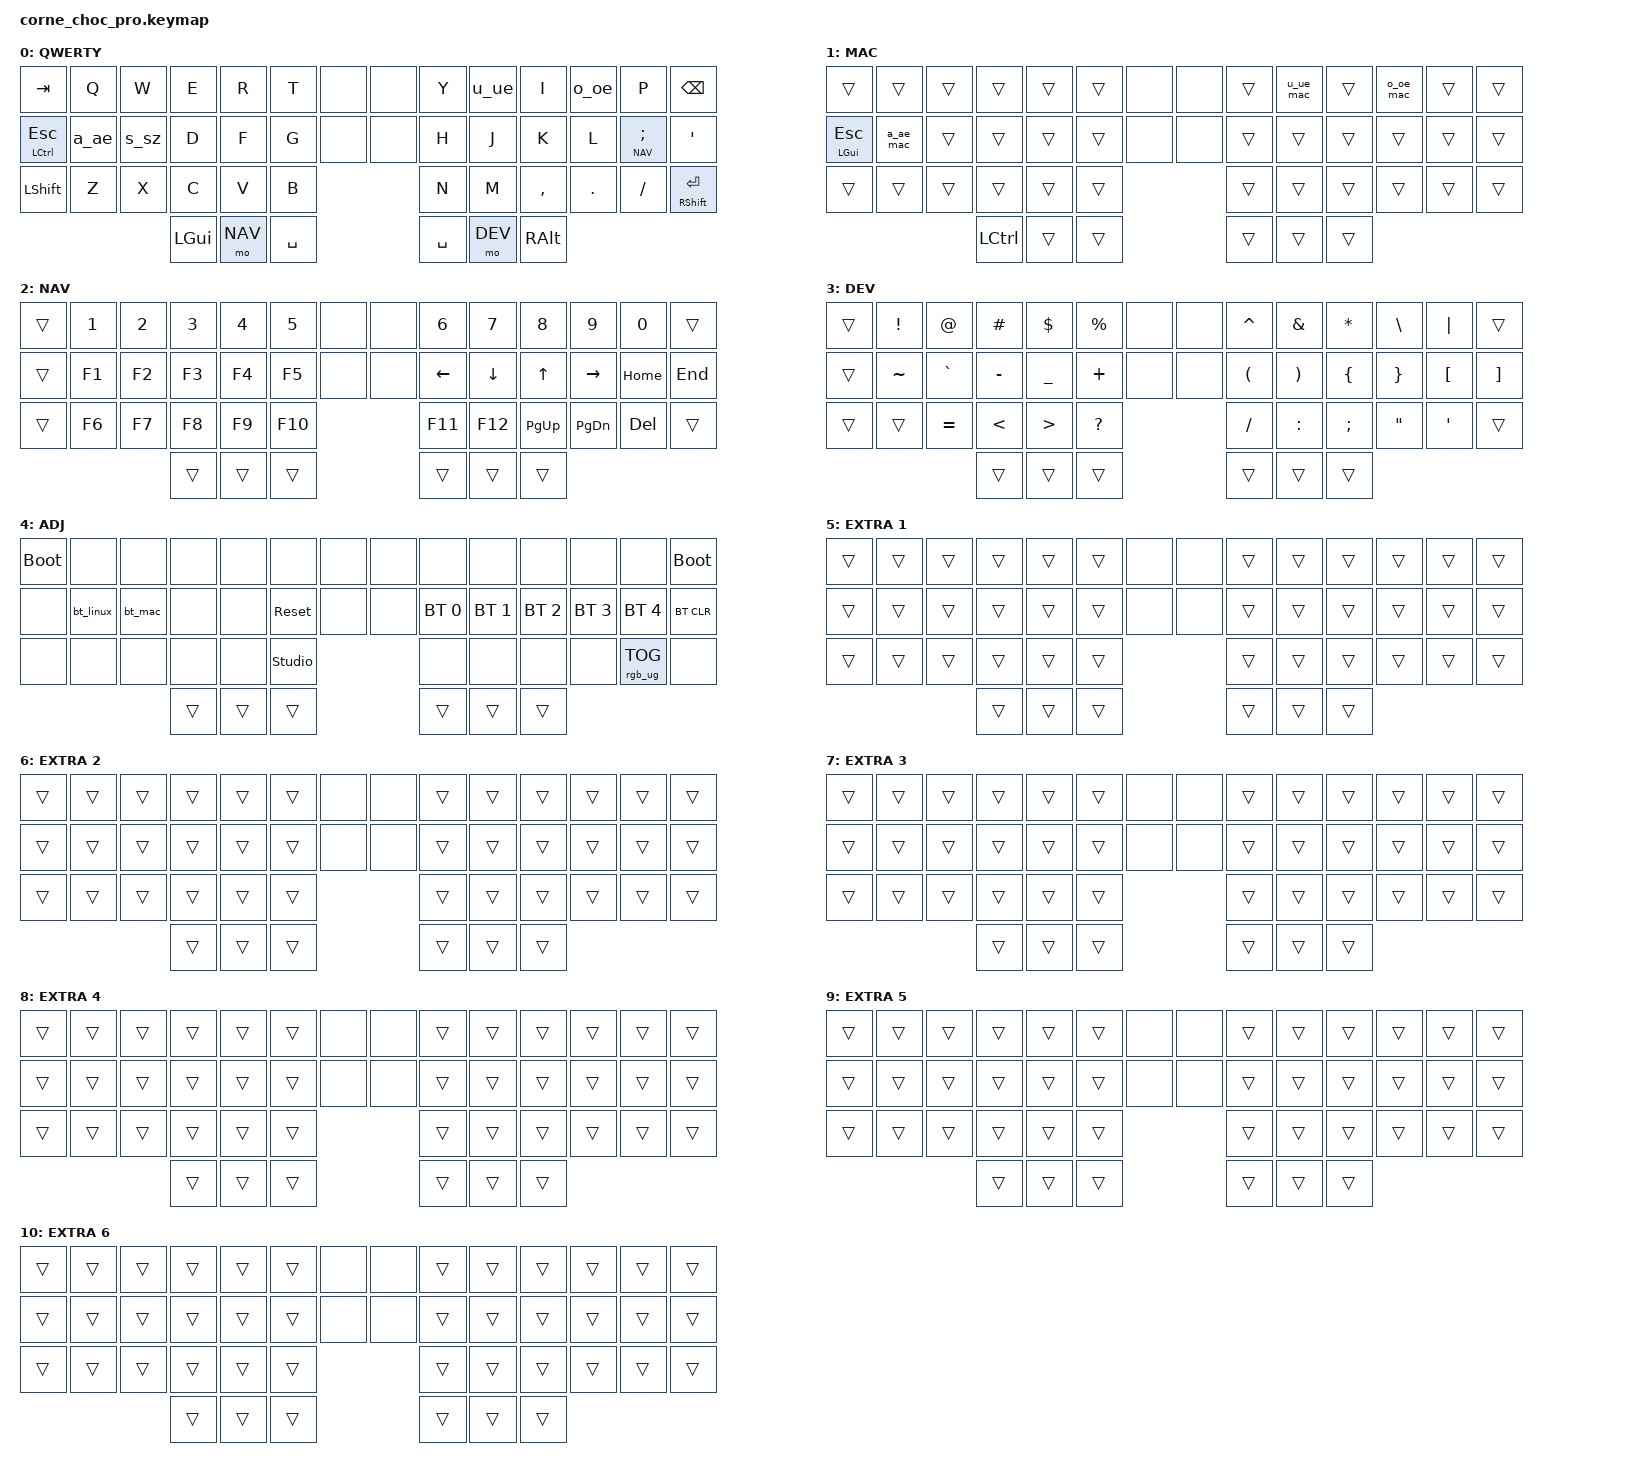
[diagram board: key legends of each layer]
/*
 * Corne Choc Pro BT — ZMK keymap
 *
 * Each half has a display physically occupying what would have been
 * 2 switch positions. So 4 keymap matrix positions are unwired (bound
 * to &none): row 1 col 7, row 2 col 7 (left display), row 1 col 8,
 * row 2 col 8 (right display) — i.e. the four middle positions on
 * rows 1 and 2.
 *
 * Layers:
 *   0 = BASE   (QWERTY, Linux default)
 *   1 = MAC    (overlay; activated when on BT profile 1 via &bt_mac)
 *   2 = NAV    (numbers, F-keys, vim arrows)
 *   3 = DEV    (symbols, brackets)
 *   4 = ADJ    (BT, system, RGB, Studio) — auto-activated by NAV+DEV
 *   5-10       (reserved empty layers for future ZMK Studio editing)
 *
 * Tri-layer: holding NAV (left thumb middle) + DEV (right thumb middle)
 * activates ADJ. No explicit binding needed.
 *
 * OS switching: BT profile 0 = Linux (BASE), BT profile 1 = Mac (MAC overlay).
 * Use the &bt_linux / &bt_mac macros on the ADJ layer to switch.
 */

#include <behaviors.dtsi>
#include <dt-bindings/zmk/bt.h>
#include <dt-bindings/zmk/keys.h>
#include <dt-bindings/zmk/rgb.h>

#define BASE 0
#define MAC  1
#define NAV  2
#define DEV  3
#define ADJ  4

/ {
    chosen { zmk,physical-layout = &default_layout; };

    // Tri-layer: hold NAV + DEV together => ADJ activates automatically.
    conditional_layers {
        compatible = "zmk,conditional-layers";
        tri_layer {
            if-layers = <NAV DEV>;
            then-layer = <ADJ>;
        };
    };

    macros {
        // Switch to Linux: BT profile 0, return to BASE
        bt_linux: bt_linux {
            label = "BT_LINUX";
            compatible = "zmk,behavior-macro";
            #binding-cells = <0>;
            bindings
                = <&bt BT_SEL 0>
                , <&to BASE>;
        };

        // Switch to Mac: BT profile 1, activate MAC overlay
        bt_mac: bt_mac {
            label = "BT_MAC";
            compatible = "zmk,behavior-macro";
            #binding-cells = <0>;
            bindings
                = <&bt BT_SEL 1>
                , <&to MAC>;
        };
    };

    behaviors {
        // Layer-tap: tap = key, hold = momentary layer.
        // retro-tap: if held without pressing another key, still emits the tap on release.
        lt_to_layer: lt_to_layer {
            compatible = "zmk,behavior-hold-tap";
            label = "LT_TO_LAYER";
            bindings = <&mo>, <&kp>;
            #binding-cells = <2>;
            tapping-term-ms = <200>;
            quick-tap-ms = <150>;
            flavor = "tap-preferred";
            retro-tap;
        };

        // German umlauts via Right Alt:
        // Tap A/O/U/S => normal letter.
        // Hold RALT + tap => umlaut/eszett (decoded by OS layout, e.g.
        // 'English (US, intl., with dead keys)' on Linux,
        // 'U.S. International - PC' on macOS).
        a_ae: a_ae {
            compatible = "zmk,behavior-mod-morph";
            label = "A_AE";
            bindings = <&kp A>, <&kp RA(Q)>;
            #binding-cells = <0>;
            mods = <(MOD_RALT)>;
        };

        o_oe: o_oe {
            compatible = "zmk,behavior-mod-morph";
            label = "O_OE";
            bindings = <&kp O>, <&kp RA(P)>;
            #binding-cells = <0>;
            mods = <(MOD_RALT)>;
        };

        u_ue: u_ue {
            compatible = "zmk,behavior-mod-morph";
            label = "U_UE";
            bindings = <&kp U>, <&kp RA(Y)>;
            #binding-cells = <0>;
            mods = <(MOD_RALT)>;
        };

        s_sz: s_sz {
            compatible = "zmk,behavior-mod-morph";
            label = "S_SZ";
            bindings = <&kp S>, <&kp RA(S)>;
            #binding-cells = <0>;
            mods = <(MOD_RALT)>;
        };

        // Mac umlaut mod-morphs:
        //   Requires macOS input source = "ABC - German" (or any layout
        //   that maps Option+A/O/U/S directly to ä/ö/ü/ß and
        //   Shift+Option+letter to the capital variants).
        //
        //   With that layout, the OS handles shift natively, so we don't
        //   need macros or nested mod-morphs at all -- just emit RA(letter)
        //   when RALT is held, the same shape as the Linux side. Shift
        //   composes naturally because the OS keyboard layout knows that
        //   Shift+Option+a = Ä.
        //
        // Structurally identical to the Linux a_ae / o_oe / u_ue morphs;
        // the only reason they're separate behaviors is so the keys land
        // on the right matrix positions via the MAC overlay layer.
        a_ae_mac: a_ae_mac {
            compatible = "zmk,behavior-mod-morph";
            label = "A_AE_MAC";
            bindings = <&kp A>, <&kp RA(A)>;
            #binding-cells = <0>;
            mods = <(MOD_RALT)>;
        };

        o_oe_mac: o_oe_mac {
            compatible = "zmk,behavior-mod-morph";
            label = "O_OE_MAC";
            bindings = <&kp O>, <&kp RA(O)>;
            #binding-cells = <0>;
            mods = <(MOD_RALT)>;
        };

        u_ue_mac: u_ue_mac {
            compatible = "zmk,behavior-mod-morph";
            label = "U_UE_MAC";
            bindings = <&kp U>, <&kp RA(U)>;
            #binding-cells = <0>;
            mods = <(MOD_RALT)>;
        };

        // Note: no s_sz_mac needed. The Linux s_sz already emits RA(S),
        // which is also Option+S = ß on the new Mac layout. The MAC layer
        // can &trans through to the BASE s_sz binding unchanged.
    };

    keymap {
        compatible = "zmk,keymap";

        /*
         * ============================================================
         * BASE (Linux default) — Layer 0
         * ============================================================
         *
         * ,-----------------------------------.              ,-----------------------------------.
         * | TAB |  Q  |  W  |  E  |  R  |  T  |              |  Y  | U*  |  I  | O*  |  P  |BSPC |
         * |-----+-----+-----+-----+-----+-----| [DSP]  [DSP] |-----+-----+-----+-----+-----+-----|
         * |CT/ES|  A* | S/ß |  D  |  F  |  G  |              |  H  |  J  |  K  |  L  | ;/N |  '  |
         * |-----+-----+-----+-----+-----+-----|              |-----+-----+-----+-----+-----+-----|
         * |SHFT |  Z  |  X  |  C  |  V  |  B  |              |  N  |  M  |  ,  |  .  |  /  |RS/E |
         * `-----------------------------------'              `-----------------------------------'
         *               | GUI | NAV | SPC |                  | SPC | DEV |RALT |
         *               `-----------------'                  `-----------------'
         *
         * [DSP] = display position (no switch wired here, bound to &none).
         *   Each display spans 2 rows on its half of the matrix.
         *
         * * = mod-morph: hold RALT (right thumb) + tap to get the umlaut/eszett.
         *   A => ä,  O => ö,  U => ü,  S => ß
         *
         * Mod-taps:
         *   - Left pinky home row: tap = ESC, hold = LCTRL  (&mt LCTRL ESCAPE)
         *   - Right pinky bottom row: tap = ENTER, hold = RSHIFT  (&mt RSHFT ENTER)
         *
         * Layer-tap:
         *   - ;/N = tap for SEMICOLON, hold for NAV layer (&lt_to_layer NAV)
         *
         * Thumb layers:
         *   - Left thumb middle: momentary NAV
         *   - Right thumb middle: momentary DEV
         *   - Both together: ADJ (via conditional_layers)
         *
         * Note: GUI = Super on Linux. On Mac, the same physical thumb is overridden
         * to Ctrl in the MAC layer (because Mac uses Cmd as the primary modifier,
         * and we want Ctrl available too — see MAC layer below). The left pinky's
         * mod-tap is swapped to LGUI on Mac so tap=ESC still works while hold=Cmd.
         *
         * Umlauts work on both OSes via the same physical chord (hold RALT + tap
         * letter), but the OS-level keyboard layouts differ:
         *   - Linux: "English (US, intl., with AltGr dead keys)" — AltGr+Q/P/Y/S
         *     produce ä/ö/ü/ß, so the BASE morphs emit RA(Q)/RA(P)/RA(Y)/RA(S).
         *   - Mac:   "ABC - German" (or equivalent layout with umlauts on Option) —
         *     Option+A/O/U/S produce ä/ö/ü/ß directly, so the MAC overlay uses
         *     separate morphs that emit RA(A)/RA(O)/RA(U)/RA(S). Shift composes
         *     natively in both layouts, no macros needed.
         */
        base_layer {
            display-name = "QWERTY";
            bindings = <
&kp TAB           &kp Q  &kp W  &kp E     &kp R    &kp T      &none      &none      &kp Y      &u_ue    &kp I      &o_oe    &kp P                  &kp BSPC
&mt LCTRL ESCAPE  &a_ae  &s_sz  &kp D     &kp F    &kp G      &none      &none      &kp H      &kp J    &kp K      &kp L    &lt_to_layer NAV SEMI  &kp SQT
&kp LSHFT         &kp Z  &kp X  &kp C     &kp V    &kp B                            &kp N      &kp M    &kp COMMA  &kp DOT  &kp FSLH               &mt RSHFT ENTER
                                &kp LGUI  &mo NAV  &kp SPACE                        &kp SPACE  &mo DEV  &kp RALT
            >;
        };

        /*
         * ============================================================
         * MAC overlay — Layer 1
         * ============================================================
         *
         * ,-----------------------------------.              ,-----------------------------------.
         * |     |     |     |     |     |     |              |     |  U* |     |  O* |     |     |
         * |-----+-----+-----+-----+-----+-----| [DSP]  [DSP] |-----+-----+-----+-----+-----+-----|
         * |GU/ES|  A* |     |     |     |     |              |     |     |     |     |     |     |
         * |-----+-----+-----+-----+-----+-----|              |-----+-----+-----+-----+-----+-----|
         * |     |     |     |     |     |     |              |     |     |     |     |     |     |
         * `-----------------------------------'              `-----------------------------------'
         *               |CTRL |     |     |                  |     |     |     |
         *               `-----------------'                  `-----------------'
         *
         * Activated by &bt_mac (BT profile 1 + jump to this layer).
         *
         * Pinky-Ctrl swap to handle the Ctrl-vs-Cmd difference between OSes:
         *   - Left pinky home row: tap = ESC, hold = LGUI (Cmd) instead of LCTRL.
         *     So pinky+C still does "copy" — Cmd+C on Mac, Ctrl+C on Linux.
         *   - Left thumb GUI position: becomes LCTRL on Mac, so when you genuinely
         *     need Ctrl (e.g. Ctrl+A/E/D in shell), the thumb has it.
         *
         * Everything else is &trans and falls through to BASE.
         * Right Alt remains Right Alt = Option on Mac, so umlauts still work.
         */
        mac_layer {
            display-name = "MAC";
            bindings = <
&trans           &trans     &trans  &trans      &trans  &trans  &none  &none  &trans  &u_ue_mac  &trans  &o_oe_mac  &trans  &trans
&mt LGUI ESCAPE  &a_ae_mac  &trans  &trans      &trans  &trans  &none  &none  &trans  &trans     &trans  &trans     &trans  &trans
&trans           &trans     &trans  &trans      &trans  &trans                &trans  &trans     &trans  &trans     &trans  &trans
                                    &kp LCTRL   &trans  &trans                &trans  &trans     &trans
            >;
        };

        /*
         * ============================================================
         * NAV / NUM — Layer 2
         * ============================================================
         *
         * ,-----------------------------------.              ,-----------------------------------.
         * |     |  1  |  2  |  3  |  4  |  5  |              |  6  |  7  |  8  |  9  |  0  |     |
         * |-----+-----+-----+-----+-----+-----| [DSP]  [DSP] |-----+-----+-----+-----+-----+-----|
         * |     | F1  | F2  | F3  | F4  | F5  |              | LFT | DWN |  UP | RGT | HOM | END |
         * |-----+-----+-----+-----+-----+-----|              |-----+-----+-----+-----+-----+-----|
         * |     | F6  | F7  | F8  | F9  | F10 |              | F11 | F12 | PUP | PDN | DEL |     |
         * `-----------------------------------'              `-----------------------------------'
         *               |     |     |     |                  |     |     |     |
         *               `-----------------'                  `-----------------'
         *
         * Vim arrows on the right home row: H J K L = ← ↓ ↑ →
         * Hold NAV + DEV simultaneously to reach ADJ via the tri-layer rule.
         */
        nav_layer {
            display-name = "NAV";
            bindings = <
&trans  &kp N1  &kp N2  &kp N3  &kp N4  &kp N5      &none  &none      &kp N6     &kp N7    &kp N8     &kp N9     &kp N0    &trans
&trans  &kp F1  &kp F2  &kp F3  &kp F4  &kp F5      &none  &none      &kp LEFT   &kp DOWN  &kp UP     &kp RIGHT  &kp HOME  &kp END
&trans  &kp F6  &kp F7  &kp F8  &kp F9  &kp F10                       &kp F11    &kp F12   &kp PG_UP  &kp PG_DN  &kp DEL   &trans
                        &trans  &trans  &trans                        &trans     &trans    &trans
            >;
        };

        /*
         * ============================================================
         * DEV / Symbols — Layer 3
         * ============================================================
         *
         * ,-----------------------------------.              ,-----------------------------------.
         * |     |  !  |  @  |  #  |  $  |  %  |              |  ^  |  &  |  *  |  \  |  |  |     |
         * |-----+-----+-----+-----+-----+-----| [DSP]  [DSP] |-----+-----+-----+-----+-----+-----|
         * |     |  ~  |  `  |  -  |  _  |  +  |              |  (  |  )  |  {  |  }  |  [  |  ]  |
         * |-----+-----+-----+-----+-----+-----|              |-----+-----+-----+-----+-----+-----|
         * |     |     |  =  |  <  |  >  |  ?  |              |  /  |  :  |  ;  |  "  |  '  |     |
         * `-----------------------------------'              `-----------------------------------'
         *               |     |     |     |                  |     |     |     |
         *               `-----------------'                  `-----------------'
         *
         * Notes:
         * - All four bracket pairs (), [], {} on the right home row in
         *   left/right pair order. <> on the bottom row.
         * - Both ` and ~ available without combos (handy for shells and md).
         * - Hold NAV + DEV simultaneously to reach ADJ via the tri-layer rule.
         */
        dev_layer {
            display-name = "DEV";
            bindings = <
&trans  &kp EXCL   &kp AT     &kp HASH   &kp DLLR   &kp PRCNT      &none  &none      &kp CARET  &kp AMPS   &kp ASTRK  &kp BSLH  &kp PIPE  &trans
&trans  &kp TILDE  &kp GRAVE  &kp MINUS  &kp UNDER  &kp PLUS       &none  &none      &kp LPAR   &kp RPAR   &kp LBRC   &kp RBRC  &kp LBKT  &kp RBKT
&trans  &trans     &kp EQUAL  &kp LT     &kp GT     &kp QMARK                        &kp FSLH   &kp COLON  &kp SEMI   &kp DQT   &kp SQT   &trans
                              &trans     &trans     &trans                           &trans     &trans     &trans
            >;
        };

        /*
         * ============================================================
         * ADJUST — Layer 4
         * ============================================================
         * Auto-activated by the conditional_layers rule when NAV (2)
         * and DEV (3) are both held — i.e. hold both thumb-middle keys.
         *
         * ,-----------------------------------.              ,-----------------------------------.
         * |BOOT |     |     |     |     |     |              |     |     |     |     |     |BOOT |
         * |-----+-----+-----+-----+-----+-----| [DSP]  [DSP] |-----+-----+-----+-----+-----+-----|
         * |     |LINUX| MAC |     |     | RST |              | BT0 | BT1 | BT2 | BT3 | BT4 |BCLR |
         * |-----+-----+-----+-----+-----+-----|              |-----+-----+-----+-----+-----+-----|
         * |     |     |     |     |     |STDIO|              |     |     |     |     |RGBTG|     |
         * `-----------------------------------'              `-----------------------------------'
         *               |     |     |     |                  |     |     |     |
         *               `-----------------'                  `-----------------'
         *
         * - LINUX = &bt_linux  (BT profile 0 + return to BASE)
         * - MAC   = &bt_mac    (BT profile 1 + activate MAC overlay)
         * - BT0..BT4 = direct profile selection (no overlay change — useful for
         *   pairing additional devices later)
         * - BCLR  = clear current BT profile pairing (right pinky, next to BT4
         *   so the BT cluster is contiguous)
         * - RST   = sys_reset (soft reset)
         * - STDIO = studio_unlock (enable ZMK Studio editing) — placed where 'B' is
         *   on BASE so it requires a deliberate inner-column reach
         * - RGBTG = toggle RGB underglow on/off
         * - BOOT  = bootloader (top-row outer corners; deliberate reach required,
         *   one per half so you can flash each side independently)
         */
        adjust_layer {
            display-name = "ADJ";
            bindings = <
&bootloader  &none      &none    &none   &none   &none           &none  &none      &none         &none         &none         &none         &none            &bootloader
&none        &bt_linux  &bt_mac  &none   &none   &sys_reset      &none  &none      &bt BT_SEL 0  &bt BT_SEL 1  &bt BT_SEL 2  &bt BT_SEL 3  &bt BT_SEL 4     &bt BT_CLR
&none        &none      &none    &none   &none   &studio_unlock                     &none         &none         &none         &none         &rgb_ug RGB_TOG  &none
                                 &trans  &trans  &trans                             &trans        &trans        &trans
            >;
        };

        // Reserved empty layers — kept so ZMK Studio can edit them later
        // without rebuilding firmware.
        extra_layer_1 {
            display-name = "EXTRA 1";
            bindings = <
&trans  &trans  &trans  &trans  &trans  &trans  &none  &none  &trans  &trans  &trans  &trans  &trans  &trans
&trans  &trans  &trans  &trans  &trans  &trans  &none  &none  &trans  &trans  &trans  &trans  &trans  &trans
&trans  &trans  &trans  &trans  &trans  &trans                &trans  &trans  &trans  &trans  &trans  &trans
                        &trans  &trans  &trans                &trans  &trans  &trans
            >;
        };

        extra_layer_2 {
            display-name = "EXTRA 2";
            bindings = <
&trans  &trans  &trans  &trans  &trans  &trans  &none  &none  &trans  &trans  &trans  &trans  &trans  &trans
&trans  &trans  &trans  &trans  &trans  &trans  &none  &none  &trans  &trans  &trans  &trans  &trans  &trans
&trans  &trans  &trans  &trans  &trans  &trans                &trans  &trans  &trans  &trans  &trans  &trans
                        &trans  &trans  &trans                &trans  &trans  &trans
            >;
        };

        extra_layer_3 {
            display-name = "EXTRA 3";
            bindings = <
&trans  &trans  &trans  &trans  &trans  &trans  &none  &none  &trans  &trans  &trans  &trans  &trans  &trans
&trans  &trans  &trans  &trans  &trans  &trans  &none  &none  &trans  &trans  &trans  &trans  &trans  &trans
&trans  &trans  &trans  &trans  &trans  &trans                &trans  &trans  &trans  &trans  &trans  &trans
                        &trans  &trans  &trans                &trans  &trans  &trans
            >;
        };

        extra_layer_4 {
            display-name = "EXTRA 4";
            bindings = <
&trans  &trans  &trans  &trans  &trans  &trans  &none  &none  &trans  &trans  &trans  &trans  &trans  &trans
&trans  &trans  &trans  &trans  &trans  &trans  &none  &none  &trans  &trans  &trans  &trans  &trans  &trans
&trans  &trans  &trans  &trans  &trans  &trans                &trans  &trans  &trans  &trans  &trans  &trans
                        &trans  &trans  &trans                &trans  &trans  &trans
            >;
        };

        extra_layer_5 {
            display-name = "EXTRA 5";
            bindings = <
&trans  &trans  &trans  &trans  &trans  &trans  &none  &none  &trans  &trans  &trans  &trans  &trans  &trans
&trans  &trans  &trans  &trans  &trans  &trans  &none  &none  &trans  &trans  &trans  &trans  &trans  &trans
&trans  &trans  &trans  &trans  &trans  &trans                &trans  &trans  &trans  &trans  &trans  &trans
                        &trans  &trans  &trans                &trans  &trans  &trans
            >;
        };

        extra_layer_6 {
            display-name = "EXTRA 6";
            bindings = <
&trans  &trans  &trans  &trans  &trans  &trans  &none  &none  &trans  &trans  &trans  &trans  &trans  &trans
&trans  &trans  &trans  &trans  &trans  &trans  &none  &none  &trans  &trans  &trans  &trans  &trans  &trans
&trans  &trans  &trans  &trans  &trans  &trans                &trans  &trans  &trans  &trans  &trans  &trans
                        &trans  &trans  &trans                &trans  &trans  &trans
            >;
        };
    };
};
